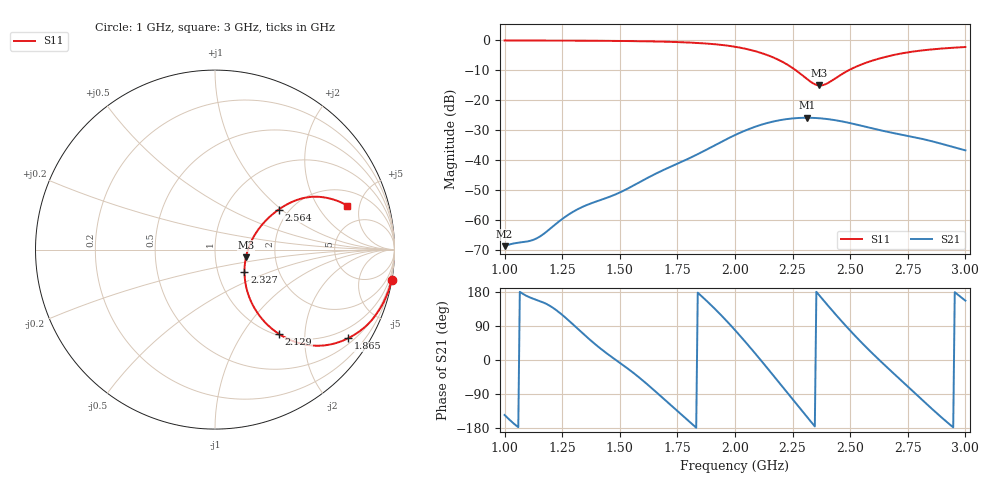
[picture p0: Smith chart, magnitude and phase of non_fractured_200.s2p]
! TOUCHSTONE file generated by CST MICROWAVE STUDIO
! Date and time: Sat Mar  8 13:55:23 2025
! Project name: non_fractured.cst
! Parameters = {B=2.5; D=160; F=15; Feed=2.85625; L=100; M=20; R=0.384908; S=1.5; Theta=270; length=57.125; wave=114.25}
! Header version: 2024
! Port assignment regex: !\s*Touchstone port\s*([0-9]+)\s*=\s*(CST MWS port|CST DES external port|CST DES block port)\s*(.+)\s* \(\"(.*)\"\)(\s*mode\s*([0-9]+))?.*
! Touchstone port assignment:
! Touchstone port 1 = CST MWS port 1 ("")
! Touchstone port 2 = CST MWS port 2 ("")
# GHz S DB R 50
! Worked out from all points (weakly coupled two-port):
!   304 points, 1 GHz to 3 GHz, reference 50 ohm
!   highest |S21| = -25.77 dB at 2.314 GHz (marker M1); lowest = -68.6 dB at 1 GHz (marker M2)
!   lowest |S11| = -15.0 dB at 2.366 GHz (marker M3), VSWR 1.43, Z = 70.4 - j6.38 ohm
!   |S11| at or under -10 dB: 2.265 GHz to 2.492 GHz (227.5 MHz wide, 9.56 % of centre)
!   S12 and S22 are empty: the file has one direction only
!   S11 on the Smith chart (normalised r, x): 1 GHz: 0, -12; 1.865 GHz: 0.66, -3.19; 2.129 GHz: 1.03, -1.48; 2.327 GHz: 1.34, -0.35; 2.564 GHz: 1.77, +0.95; 3 GHz: 3.07, +3.78
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1  -0.02 -9.8  -68.56 -145.1  -200.00 0.0  -200.00 0.0
1.10561  -0.03 -11.2  -66.88 166.2  -200.00 0.0  -200.00 0.0
1.13861  -0.04 -11.7  -65.98 158.6  -200.00 0.0  -200.00 0.0
1.26403  -0.07 -13.8  -58.73 111.8  -200.00 0.0  -200.00 0.0
1.33663  -0.09 -15.2  -55.53 71.8  -200.00 0.0  -200.00 0.0
1.49505  -0.18 -18.8  -50.85 -5.3  -200.00 0.0  -200.00 0.0
1.66667  -0.37 -24.1  -44.01 -89.4  -200.00 0.0  -200.00 0.0
1.86469  -0.99 -33.6  -36.87 163.0  -200.00 0.0  -200.00 0.0
2.0033  -2.16 -43.4  -31.42 76.7  -200.00 0.0  -200.00 0.0
2.06931  -3.22 -48.6  -29.28 30.5  -200.00 0.0  -200.00 0.0
2.12871  -4.57 -52.8  -27.76 -12.8  -200.00 0.0  -200.00 0.0
2.22112  -7.79 -56.1  -26.26 -81.8  -200.00 0.0  -200.00 0.0
2.31353  -12.94 -42.8  -25.77 -150.9  -200.00 0.0  -200.00 0.0
2.32673  -13.70 -37.4  -25.79 -160.7  -200.00 0.0  -200.00 0.0
2.33993  -14.35 -30.6  -25.82 -170.4  -200.00 0.0  -200.00 0.0
2.36634  -15.01 -14.3  -25.94 170.3  -200.00 0.0  -200.00 0.0
2.39934  -14.37 5.6  -26.19 146.6  -200.00 0.0  -200.00 0.0
2.45875  -11.49 25.0  -26.91 105.1  -200.00 0.0  -200.00 0.0
2.56436  -7.57 32.2  -28.73 36.8  -200.00 0.0  -200.00 0.0
2.66997  -5.18 30.8  -30.59 -25.0  -200.00 0.0  -200.00 0.0
2.82838  -3.20 24.5  -33.11 -114.3  -200.00 0.0  -200.00 0.0
3  -2.21 18.4  -36.64 156.6  -200.00 0.0  -200.00 0.0
